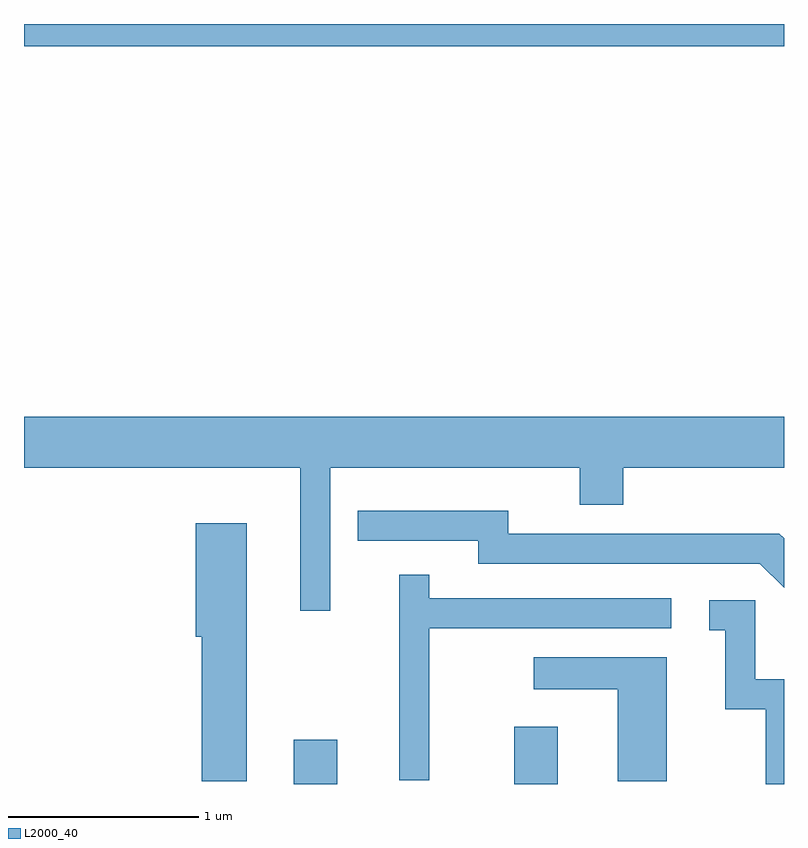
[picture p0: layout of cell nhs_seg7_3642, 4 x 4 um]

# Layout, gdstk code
import gdstk
lib = gdstk.Library(unit=1e-6, precision=1e-09)
def R(c, l, rs):  # rectangles x0, y0, x1, y1
    for r in rs: c.add(gdstk.rectangle(r[:2], r[2:], *l))
def P(c, l, *ps):  # polygons
    for p in ps: c.add(gdstk.Polygon(p, *l))
L2000_40 = (2000, 40)

nhs_seg7_3642 = lib.new_cell('nhs_seg7_3642')
R(nhs_seg7_3642, L2000_40, [(299.031,1668.252,299.259,1668.484), (300.191,1668.252,300.419,1668.554), (297.611,1672.136,301.611,1672.252)])
P(nhs_seg7_3642, L2000_40, [(299.224,1669.916),(300.536,1669.916),(300.536,1669.721),(300.764,1669.721),(300.764,1669.916),(301.611,1669.916),(301.611,1670.184),(297.611,1670.184),(297.611,1669.916),(299.066,1669.916),(299.066,1669.163),(299.224,1669.163)],
  [(301.611,1669.545),(301.587,1669.569),(300.159,1669.569),(300.159,1669.689),(299.368,1669.689),(299.368,1669.531),(300.001,1669.531),(300.001,1669.411),(301.484,1669.411),(301.611,1669.284)],
  [(298.784,1669.624),(298.516,1669.624),(298.516,1669.026),(298.546,1669.026),(298.546,1668.266),(298.784,1668.266)],
  [(299.744,1669.071),(301.018,1669.071),(301.018,1669.229),(299.744,1669.229),(299.744,1669.353),(299.586,1669.353),(299.586,1668.273),(299.744,1668.273)],
  [(301.611,1668.804),(301.459,1668.804),(301.459,1669.219),(301.218,1669.219),(301.218,1669.061),(301.301,1669.061),(301.301,1668.646),(301.516,1668.646),(301.516,1668.252),(301.611,1668.252)],
  [(300.994,1668.919),(300.293,1668.919),(300.293,1668.751),(300.736,1668.751),(300.736,1668.266),(300.994,1668.266)])

lib.write_gds('nhs_seg7_3642.gds')
